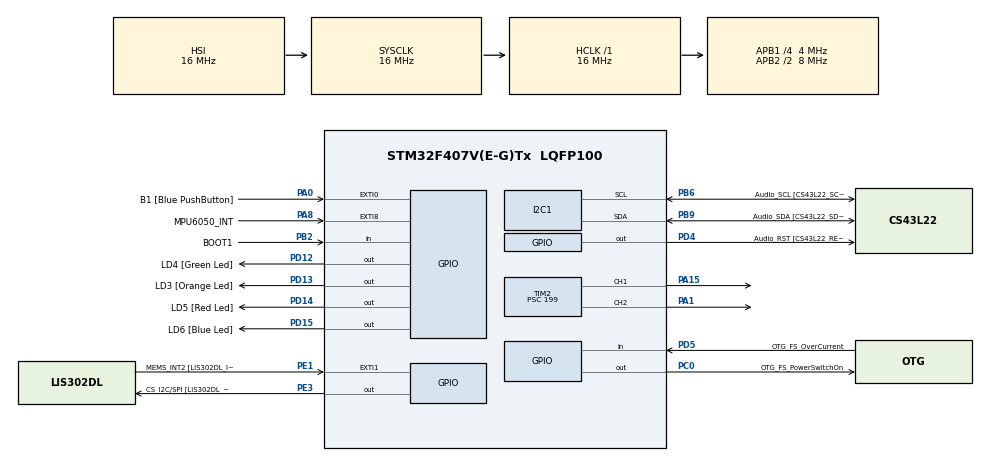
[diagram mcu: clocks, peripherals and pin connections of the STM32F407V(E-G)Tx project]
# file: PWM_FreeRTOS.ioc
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FREERTOS.Tasks01=defaultTask,24,128,StartDefaultTask,Default,NULL,Dynamic,NULL,NULL;SensorReadTask_,24,128,sensor_read_task,Default,NULL,Dynamic,NULL,NULL;PWMControlTask_,24,128,pwm_control_task,Default,NULL,Dynamic,NULL,NULL
FREERTOS.configUSE_NEWLIB_REENTRANT=1
Mcu.Family=STM32F4
Mcu.Name=STM32F407V(E-G)Tx
Mcu.Package=LQFP100
NVIC.EXTI9_5_IRQn=true\:0\:0\:false\:false\:true\:false\:true\:true\:true
NVIC.PriorityGroup=NVIC_PRIORITYGROUP_4
NVIC.TIM2_IRQn=true\:5\:0\:false\:false\:true\:true\:true\:true\:true
NVIC.TIM6_DAC_IRQn=true\:15\:0\:false\:false\:true\:false\:false\:true\:true
NVIC.TimeBase=TIM6_DAC_IRQn
NVIC.TimeBaseIP=TIM6
PA0-WKUP.GPIO_Label=B1 [Blue PushButton]
PA0-WKUP.Signal=GPXTI0
PA1.Signal=S_TIM2_CH2
PA10.GPIO_Label=OTG_FS_ID
PA10.GPIO_Mode=GPIO_MODE_AF_PP
PA10.GPIO_PuPd=GPIO_NOPULL
PA10.GPIO_Speed=GPIO_SPEED_FREQ_LOW
PA10.Signal=USB_OTG_FS_ID
PA11.GPIO_Label=OTG_FS_DM
PA11.GPIO_Mode=GPIO_MODE_AF_PP
PA11.GPIO_PuPd=GPIO_NOPULL
PA11.GPIO_Speed=GPIO_SPEED_FREQ_LOW
PA11.Signal=USB_OTG_FS_DM
PA12.GPIO_Label=OTG_FS_DP
PA12.GPIO_Mode=GPIO_MODE_AF_PP
PA12.GPIO_PuPd=GPIO_NOPULL
PA12.GPIO_Speed=GPIO_SPEED_FREQ_LOW
PA12.Signal=USB_OTG_FS_DP
PA13.GPIO_Label=SWDIO
PA13.Signal=SYS_JTMS-SWDIO
PA14.GPIO_Label=SWCLK
PA14.Signal=SYS_JTCK-SWCLK
PA15.Signal=S_TIM2_CH1_ETR
PA4.GPIO_Label=I2S3_WS [CS43L22_LRCK]
PA4.GPIO_Mode=GPIO_MODE_AF_PP
PA4.GPIO_PuPd=GPIO_NOPULL
PA4.GPIO_Speed=GPIO_SPEED_FREQ_LOW
PA4.Signal=I2S3_WS
PA5.GPIO_Label=SPI1_SCK [LIS302DL_SCL/SPC]
PA5.GPIO_Mode=GPIO_MODE_AF_PP
PA5.GPIO_PuPd=GPIO_NOPULL
PA5.GPIO_Speed=GPIO_SPEED_FREQ_LOW
PA5.Signal=SPI1_SCK
PA6.GPIO_Label=SPI1_MISO [LIS302DL_SDO]
PA6.GPIO_Mode=GPIO_MODE_AF_PP
PA6.GPIO_PuPd=GPIO_NOPULL
PA6.GPIO_Speed=GPIO_SPEED_FREQ_LOW
PA6.Signal=SPI1_MISO
PA7.GPIO_Label=SPI1_MOSI [LIS302DL_SDA/SDI/SDO]
PA7.GPIO_Mode=GPIO_MODE_AF_PP
PA7.GPIO_PuPd=GPIO_NOPULL
PA7.GPIO_Speed=GPIO_SPEED_FREQ_LOW
PA7.Signal=SPI1_MOSI
PA8.GPIO_Label=MPU6050_INT
PA8.Signal=GPXTI8
PA9.GPIO_Label=VBUS_FS
PA9.GPIO_Mode=GPIO_MODE_INPUT
PA9.GPIO_PuPd=GPIO_NOPULL
PA9.Signal=USB_OTG_FS_VBUS
PB10.GPIO_Label=CLK_IN [MP45DT02_CLK]
PB10.GPIO_Mode=GPIO_MODE_AF_PP
PB10.GPIO_PuPd=GPIO_NOPULL
PB10.GPIO_Speed=GPIO_SPEED_FREQ_LOW
PB10.Signal=I2S2_CK
PB2.GPIO_Label=BOOT1
PB2.GPIO_Mode=GPIO_MODE_INPUT
PB2.GPIO_PuPd=GPIO_NOPULL
PB2.Signal=GPIO_Input
PB3.GPIO_Label=SWO
PB3.Signal=SYS_JTDO-SWO
PB6.GPIO_Label=Audio_SCL [CS43L22_SCL]
PB6.GPIO_Mode=GPIO_MODE_AF_OD
PB6.GPIO_PuPd=GPIO_NOPULL
PB6.GPIO_Speed=GPIO_SPEED_FREQ_LOW
PB6.Mode=I2C
PB6.Signal=I2C1_SCL
PB9.GPIO_Label=Audio_SDA [CS43L22_SDA]
PB9.GPIO_Mode=GPIO_MODE_AF_OD
PB9.GPIO_PuPd=GPIO_NOPULL
PB9.GPIO_Speed=GPIO_SPEED_FREQ_LOW
PB9.Mode=I2C
PB9.Signal=I2C1_SDA
PC0.GPIO_Label=OTG_FS_PowerSwitchOn
PC0.GPIO_PuPd=GPIO_NOPULL
PC0.GPIO_Speed=GPIO_SPEED_FREQ_LOW
PC0.PinState=GPIO_PIN_SET
PC0.Signal=GPIO_Output
PC10.GPIO_Label=I2S3_SCK [CS43L22_SCLK]
PC10.GPIO_Mode=GPIO_MODE_AF_PP
PC10.GPIO_PuPd=GPIO_NOPULL
PC10.GPIO_Speed=GPIO_SPEED_FREQ_LOW
PC10.Signal=I2S3_CK
PC12.GPIO_Label=I2S3_SD [CS43L22_SDIN]
PC12.GPIO_Mode=GPIO_MODE_AF_PP
PC12.GPIO_PuPd=GPIO_NOPULL
PC12.GPIO_Speed=GPIO_SPEED_FREQ_LOW
PC12.Signal=I2S3_SD
PC14-OSC32_IN.GPIO_Label=PC14-OSC32_IN
PC14-OSC32_IN.Signal=RCC_OSC32_IN
PC15-OSC32_OUT.GPIO_Label=PC15-OSC32_OUT
PC15-OSC32_OUT.Signal=RCC_OSC32_OUT
PC3.GPIO_Label=PDM_OUT [MP45DT02_DOUT]
PC3.GPIO_Mode=GPIO_MODE_AF_PP
PC3.GPIO_PuPd=GPIO_NOPULL
PC3.GPIO_Speed=GPIO_SPEED_FREQ_LOW
PC3.Signal=I2S2_SD
PC7.GPIO_Label=I2S3_MCK [CS43L22_MCLK]
PC7.GPIO_Mode=GPIO_MODE_AF_PP
PC7.GPIO_PuPd=GPIO_NOPULL
PC7.GPIO_Speed=GPIO_SPEED_FREQ_LOW
PC7.Signal=I2S3_MCK
PD12.GPIO_Label=LD4 [Green Led]
PD12.GPIO_PuPd=GPIO_NOPULL
PD12.GPIO_Speed=GPIO_SPEED_FREQ_LOW
PD12.Signal=GPIO_Output
PD13.GPIO_Label=LD3 [Orange Led]
PD13.GPIO_PuPd=GPIO_NOPULL
PD13.GPIO_Speed=GPIO_SPEED_FREQ_LOW
PD13.Signal=GPIO_Output
PD14.GPIO_Label=LD5 [Red Led]
PD14.GPIO_PuPd=GPIO_NOPULL
PD14.GPIO_Speed=GPIO_SPEED_FREQ_LOW
PD14.Signal=GPIO_Output
PD15.GPIO_Label=LD6 [Blue Led]
PD15.GPIO_PuPd=GPIO_NOPULL
PD15.GPIO_Speed=GPIO_SPEED_FREQ_LOW
PD15.Signal=GPIO_Output
PD4.GPIO_Label=Audio_RST [CS43L22_RESET]
PD4.GPIO_PuPd=GPIO_NOPULL
PD4.GPIO_Speed=GPIO_SPEED_FREQ_LOW
PD4.Signal=GPIO_Output
PD5.GPIO_Label=OTG_FS_OverCurrent
PD5.GPIO_Mode=GPIO_MODE_INPUT
PD5.GPIO_PuPd=GPIO_NOPULL
PD5.Signal=GPIO_Input
PE1.GPIO_Label=MEMS_INT2 [LIS302DL_INT2]
PE1.GPIO_ModeDefaultEXTI=GPIO_MODE_EVT_RISING
PE1.GPIO_PuPd=GPIO_NOPULL
PE1.Signal=GPXTI1
PE3.GPIO_Label=CS_I2C/SPI [LIS302DL_CS_I2C/SPI]
PE3.GPIO_PuPd=GPIO_NOPULL
PE3.GPIO_Speed=GPIO_SPEED_FREQ_LOW
PE3.Signal=GPIO_Output
PH0-OSC_IN.GPIO_Label=PH0-OSC_IN
PH0-OSC_IN.Signal=RCC_OSC_IN
PH1-OSC_OUT.GPIO_Label=PH1-OSC_OUT
PH1-OSC_OUT.Signal=RCC_OSC_OUT
ProjectManager.HeapSize=0x200
ProjectManager.StackSize=0x400
ProjectManager.TargetToolchain=STM32CubeIDE
RCC.48MHZClocksFreq_Value=14285714.285714285
RCC.AHBFreq_Value=16000000
RCC.APB1CLKDivider=RCC_HCLK_DIV4
RCC.APB1Freq_Value=4000000
RCC.APB1TimFreq_Value=8000000
RCC.APB2CLKDivider=RCC_HCLK_DIV2
RCC.APB2Freq_Value=8000000
RCC.APB2TimFreq_Value=16000000
RCC.CortexFreq_Value=16000000
RCC.HCLKFreq_Value=16000000
RCC.HSE_VALUE=8000000
RCC.HSI_VALUE=16000000
RCC.LSE_VALUE=32768
RCC.PLLM=8
RCC.PLLN=50
RCC.PLLP=RCC_PLLP_DIV4
RCC.PLLQ=7
RCC.SYSCLKFreq_VALUE=16000000
RCC.VCOOutputFreq_Value=100000000
SH.S_TIM2_CH1_ETR.0=TIM2_CH1,PWM Generation1 CH1
SH.S_TIM2_CH2.0=TIM2_CH2,PWM Generation2 CH2
TIM2.AutoReloadPreload=TIM_AUTORELOAD_PRELOAD_DISABLE
TIM2.Channel-PWM\ Generation1\ CH1=TIM_CHANNEL_1
TIM2.Channel-PWM\ Generation2\ CH2=TIM_CHANNEL_2
TIM2.Period=19999
TIM2.Prescaler=199
TIM2.Pulse-PWM\ Generation1\ CH1=8000
TIM2.Pulse-PWM\ Generation2\ CH2=4000
TIM2.TIM_MasterOutputTrigger=TIM_TRGO_UPDATE
VP_FREERTOS_VS_CMSIS_V2.Mode=CMSIS_V2
VP_SYS_VS_tim6.Mode=TIM6
VP_TIM2_VS_ClockSourceINT.Mode=Internal
board=STM32F407G-DISC1

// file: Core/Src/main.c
/* USER CODE BEGIN Header */
/**
  ******************************************************************************
  * @file           : main.c
  * @brief          : Main program body
  ******************************************************************************
  * @attention
  *
  * Copyright (c) 2024 STMicroelectronics.
  * All rights reserved.
  *
  * This software is licensed under terms that can be found in the LICENSE file
  * in the root directory of this software component.
  * If no LICENSE file comes with this software, it is provided AS-IS.
  *
  ******************************************************************************
  */
/* USER CODE END Header */
#include "main.h"
#include "cmsis_os.h"

/* USER CODE BEGIN Includes */
#include "mpu6050.h"
#include "kalman_filter.h"
#include "math.h"
#include <limits.h>
/* USER CODE END Includes */

I2C_HandleTypeDef hi2c1;

TIM_HandleTypeDef htim2;

/* Definitions for defaultTask */
osThreadId_t defaultTaskHandle;
const osThreadAttr_t defaultTask_attributes = {
  .name = "defaultTask",
  .stack_size = 128 * 4,
  .priority = (osPriority_t) osPriorityNormal,
};
/* Definitions for SensorReadTask_ */
osThreadId_t SensorReadTask_Handle;
const osThreadAttr_t SensorReadTask__attributes = {
  .name = "SensorReadTask_",
  .stack_size = 128 * 4,
  .priority = (osPriority_t) osPriorityNormal,
};
/* Definitions for PWMControlTask_ */
osThreadId_t PWMControlTask_Handle;
const osThreadAttr_t PWMControlTask__attributes = {
  .name = "PWMControlTask_",
  .stack_size = 128 * 4,
  .priority = (osPriority_t) osPriorityNormal,
};
/* USER CODE BEGIN PV */
 uint32_t g_counter = 0;
volatile uint32_t g_ch2_state = 4000; //red
volatile uint32_t g_ch1_state = 8000; //green

const mpu6050_accel_data offset = {
		.x = 250,
		.y = -200,
		.z = 156
};

/* USER CODE END PV */

void SystemClock_Config(void);
static void MX_GPIO_Init(void);
static void MX_I2C1_Init(void);
static void MX_TIM2_Init(void);
void StartDefaultTask(void *argument);
void sensor_read_task(void *argument);
void pwm_control_task(void *argument);

/* USER CODE BEGIN 0 */
long map(long x, long in_min, long in_max, long out_min, long out_max) {
    // Perform  mapping
    long result = (x - in_min) * (out_max - out_min) / (in_max - in_min) + out_min;

    // Clamp the result to the output range
    if (result > out_max) {
        result = out_max;
    } else if (result < out_min) {
        result = out_min;
    }

    return result;
}

void change_pwm_duty_cycle(uint32_t pwm_pulse, uint8_t timer_channel)
{
	__HAL_TIM_SET_COMPARE(&htim2, timer_channel, pwm_pulse);
}

void HAL_GPIO_EXTI_Callback(uint16_t GPIO_Pin)
{
  /* Prevent unused argument(s) compilation warning */
	if(GPIO_Pin == MPU6050_INT_Pin)
	{
		 // mpu6050_interrupy_handle();

	}
  /* NOTE: This function Should not be modified, when the callback is needed,
           the HAL_GPIO_EXTI_Callback could be implemented in the user file
   */
}
/* USER CODE END 0 */

int main(void)
{

  /* MCU Configuration--------------------------------------------------------*/

  /* Reset of all peripherals, Initializes the Flash interface and the Systick. */
  HAL_Init();

  /* Configure the system clock */
  SystemClock_Config();

  /* Initialize all configured peripherals */
  MX_GPIO_Init();
  MX_I2C1_Init();
  MX_TIM2_Init();
  /* USER CODE BEGIN 2 */
  if(mpu6050_init(&hi2c1, MPU6050_I2C_DEV_ADDR) != MPU6050_OK)
  {
  	  Error_Handler();
  }

  mpu6050_disable_interrupt(&hi2c1, ALL_INT);  //disable all interrupts
  mpu6050_interrupt_config(&hi2c1, INT_LEVEL_ACTIVE_HIGH);  //configure rising edge int triggering
  mpu6050_enable_interrupt(&hi2c1, RAW_RDY_INT);  //enable int issuing when new raw data ready in regs

  if (mpu6050_configure_low_pass_filter(&hi2c1,DLPF_CFG_21HZ) != MPU6050_OK) {
  	  Error_Handler();
    }

  __HAL_TIM_ENABLE_IT(&htim2,TIM_IT_UPDATE);
  if(HAL_TIM_PWM_Start_IT(&htim2, TIM_CHANNEL_1)!= HAL_OK)  	//PA15
  	{
  		Error_Handler();
  	}

  	if(HAL_TIM_PWM_Start_IT(&htim2, TIM_CHANNEL_2)!= HAL_OK)	//PA1
  	{
  		Error_Handler();
  	}

  /* USER CODE END 2 */

  /* Init scheduler */
  osKernelInitialize();

  /* Create the thread(s) */
  /* creation of defaultTask */
  defaultTaskHandle = osThreadNew(StartDefaultTask, NULL, &defaultTask_attributes);

  /* creation of SensorReadTask_ */
  SensorReadTask_Handle = osThreadNew(sensor_read_task, NULL, &SensorReadTask__attributes);

  /* creation of PWMControlTask_ */
  PWMControlTask_Handle = osThreadNew(pwm_control_task, NULL, &PWMControlTask__attributes);

  /* Start scheduler */
  osKernelStart();

  /* We should never get here as control is now taken by the scheduler */

  /* Infinite loop */
  while (1)
  {

    /* USER CODE BEGIN 3 */
#ifdef PWM
	  g_counter = __HAL_TIM_GET_COUNTER(&htim2);
#endif

	  //HAL_Delay(500);
  }
  /* USER CODE END 3 */
}

void SystemClock_Config(void)
{
  RCC_OscInitTypeDef RCC_OscInitStruct = {0};
  RCC_ClkInitTypeDef RCC_ClkInitStruct = {0};

  /** Configure the main internal regulator output voltage
  */
  __HAL_RCC_PWR_CLK_ENABLE();
  __HAL_PWR_VOLTAGESCALING_CONFIG(PWR_REGULATOR_VOLTAGE_SCALE1);

  /** Initializes the RCC Oscillators according to the specified parameters
  * in the RCC_OscInitTypeDef structure.
  */
  RCC_OscInitStruct.OscillatorType = RCC_OSCILLATORTYPE_HSI;
  RCC_OscInitStruct.HSIState = RCC_HSI_ON;
  RCC_OscInitStruct.HSICalibrationValue = RCC_HSICALIBRATION_DEFAULT;
  RCC_OscInitStruct.PLL.PLLState = RCC_PLL_NONE;
  if (HAL_RCC_OscConfig(&RCC_OscInitStruct) != HAL_OK)
  {
    Error_Handler();
  }

  /** Initializes the CPU, AHB and APB buses clocks
  */
  RCC_ClkInitStruct.ClockType = RCC_CLOCKTYPE_HCLK|RCC_CLOCKTYPE_SYSCLK
                              |RCC_CLOCKTYPE_PCLK1|RCC_CLOCKTYPE_PCLK2;
  RCC_ClkInitStruct.SYSCLKSource = RCC_SYSCLKSOURCE_HSI;
  RCC_ClkInitStruct.AHBCLKDivider = RCC_SYSCLK_DIV1;
  RCC_ClkInitStruct.APB1CLKDivider = RCC_HCLK_DIV4;
  RCC_ClkInitStruct.APB2CLKDivider = RCC_HCLK_DIV2;

  if (HAL_RCC_ClockConfig(&RCC_ClkInitStruct, FLASH_LATENCY_0) != HAL_OK)
  {
    Error_Handler();
  }
}

static void MX_I2C1_Init(void)
{

  hi2c1.Instance = I2C1;
  hi2c1.Init.ClockSpeed = 100000;
  hi2c1.Init.DutyCycle = I2C_DUTYCYCLE_2;
  hi2c1.Init.OwnAddress1 = 0;
  hi2c1.Init.AddressingMode = I2C_ADDRESSINGMODE_7BIT;
  hi2c1.Init.DualAddressMode = I2C_DUALADDRESS_DISABLE;
  hi2c1.Init.OwnAddress2 = 0;
  hi2c1.Init.GeneralCallMode = I2C_GENERALCALL_DISABLE;
  hi2c1.Init.NoStretchMode = I2C_NOSTRETCH_DISABLE;
  if (HAL_I2C_Init(&hi2c1) != HAL_OK)
  {
    Error_Handler();
  }

}

static void MX_TIM2_Init(void)
{

  TIM_ClockConfigTypeDef sClockSourceConfig = {0};
  TIM_MasterConfigTypeDef sMasterConfig = {0};
  TIM_OC_InitTypeDef sConfigOC = {0};

  htim2.Instance = TIM2;
  htim2.Init.Prescaler = 199;
  htim2.Init.CounterMode = TIM_COUNTERMODE_UP;
  htim2.Init.Period = 19999;
  htim2.Init.ClockDivision = TIM_CLOCKDIVISION_DIV1;
  htim2.Init.AutoReloadPreload = TIM_AUTORELOAD_PRELOAD_DISABLE;
  if (HAL_TIM_Base_Init(&htim2) != HAL_OK)
  {
    Error_Handler();
  }
  sClockSourceConfig.ClockSource = TIM_CLOCKSOURCE_INTERNAL;
  if (HAL_TIM_ConfigClockSource(&htim2, &sClockSourceConfig) != HAL_OK)
  {
    Error_Handler();
  }
  if (HAL_TIM_PWM_Init(&htim2) != HAL_OK)
  {
    Error_Handler();
  }
  sMasterConfig.MasterOutputTrigger = TIM_TRGO_UPDATE;
  sMasterConfig.MasterSlaveMode = TIM_MASTERSLAVEMODE_DISABLE;
  if (HAL_TIMEx_MasterConfigSynchronization(&htim2, &sMasterConfig) != HAL_OK)
  {
    Error_Handler();
  }
  sConfigOC.OCMode = TIM_OCMODE_PWM1;
  sConfigOC.Pulse = 8000;
  sConfigOC.OCPolarity = TIM_OCPOLARITY_HIGH;
  sConfigOC.OCFastMode = TIM_OCFAST_DISABLE;
  if (HAL_TIM_PWM_ConfigChannel(&htim2, &sConfigOC, TIM_CHANNEL_1) != HAL_OK)
  {
    Error_Handler();
  }
  sConfigOC.Pulse = 4000;
  if (HAL_TIM_PWM_ConfigChannel(&htim2, &sConfigOC, TIM_CHANNEL_2) != HAL_OK)
  {
    Error_Handler();
  }
  HAL_TIM_MspPostInit(&htim2);

}

static void MX_GPIO_Init(void)
{
  GPIO_InitTypeDef GPIO_InitStruct = {0};

  /* GPIO Ports Clock Enable */
  __HAL_RCC_GPIOE_CLK_ENABLE();
  __HAL_RCC_GPIOC_CLK_ENABLE();
  __HAL_RCC_GPIOH_CLK_ENABLE();
  __HAL_RCC_GPIOA_CLK_ENABLE();
  __HAL_RCC_GPIOB_CLK_ENABLE();
  __HAL_RCC_GPIOD_CLK_ENABLE();

  /*Configure GPIO pin Output Level */
  HAL_GPIO_WritePin(CS_I2C_SPI_GPIO_Port, CS_I2C_SPI_Pin, GPIO_PIN_RESET);

  /*Configure GPIO pin Output Level */
  HAL_GPIO_WritePin(OTG_FS_PowerSwitchOn_GPIO_Port, OTG_FS_PowerSwitchOn_Pin, GPIO_PIN_SET);

  /*Configure GPIO pin Output Level */
  HAL_GPIO_WritePin(GPIOD, LD4_Pin|LD3_Pin|LD5_Pin|LD6_Pin
                          |Audio_RST_Pin, GPIO_PIN_RESET);

  /*Configure GPIO pin : CS_I2C_SPI_Pin */
  GPIO_InitStruct.Pin = CS_I2C_SPI_Pin;
  GPIO_InitStruct.Mode = GPIO_MODE_OUTPUT_PP;
  GPIO_InitStruct.Pull = GPIO_NOPULL;
  GPIO_InitStruct.Speed = GPIO_SPEED_FREQ_LOW;
  HAL_GPIO_Init(CS_I2C_SPI_GPIO_Port, &GPIO_InitStruct);

  /*Configure GPIO pin : OTG_FS_PowerSwitchOn_Pin */
  GPIO_InitStruct.Pin = OTG_FS_PowerSwitchOn_Pin;
  GPIO_InitStruct.Mode = GPIO_MODE_OUTPUT_PP;
  GPIO_InitStruct.Pull = GPIO_NOPULL;
  GPIO_InitStruct.Speed = GPIO_SPEED_FREQ_LOW;
  HAL_GPIO_Init(OTG_FS_PowerSwitchOn_GPIO_Port, &GPIO_InitStruct);

  /*Configure GPIO pin : PDM_OUT_Pin */
  GPIO_InitStruct.Pin = PDM_OUT_Pin;
  GPIO_InitStruct.Mode = GPIO_MODE_AF_PP;
  GPIO_InitStruct.Pull = GPIO_NOPULL;
  GPIO_InitStruct.Speed = GPIO_SPEED_FREQ_LOW;
  GPIO_InitStruct.Alternate = GPIO_AF5_SPI2;
  HAL_GPIO_Init(PDM_OUT_GPIO_Port, &GPIO_InitStruct);

  /*Configure GPIO pins : B1_Pin MPU6050_INT_Pin */
  GPIO_InitStruct.Pin = B1_Pin|MPU6050_INT_Pin;
  GPIO_InitStruct.Mode = GPIO_MODE_IT_RISING;
  GPIO_InitStruct.Pull = GPIO_NOPULL;
  HAL_GPIO_Init(GPIOA, &GPIO_InitStruct);

  /*Configure GPIO pin : I2S3_WS_Pin */
  GPIO_InitStruct.Pin = I2S3_WS_Pin;
  GPIO_InitStruct.Mode = GPIO_MODE_AF_PP;
  GPIO_InitStruct.Pull = GPIO_NOPULL;
  GPIO_InitStruct.Speed = GPIO_SPEED_FREQ_LOW;
  GPIO_InitStruct.Alternate = GPIO_AF6_SPI3;
  HAL_GPIO_Init(I2S3_WS_GPIO_Port, &GPIO_InitStruct);

  /*Configure GPIO pins : SPI1_SCK_Pin SPI1_MISO_Pin SPI1_MOSI_Pin */
  GPIO_InitStruct.Pin = SPI1_SCK_Pin|SPI1_MISO_Pin|SPI1_MOSI_Pin;
  GPIO_InitStruct.Mode = GPIO_MODE_AF_PP;
  GPIO_InitStruct.Pull = GPIO_NOPULL;
  GPIO_InitStruct.Speed = GPIO_SPEED_FREQ_LOW;
  GPIO_InitStruct.Alternate = GPIO_AF5_SPI1;
  HAL_GPIO_Init(GPIOA, &GPIO_InitStruct);

  /*Configure GPIO pin : BOOT1_Pin */
  GPIO_InitStruct.Pin = BOOT1_Pin;
  GPIO_InitStruct.Mode = GPIO_MODE_INPUT;
  GPIO_InitStruct.Pull = GPIO_NOPULL;
  HAL_GPIO_Init(BOOT1_GPIO_Port, &GPIO_InitStruct);

  /*Configure GPIO pin : CLK_IN_Pin */
  GPIO_InitStruct.Pin = CLK_IN_Pin;
  GPIO_InitStruct.Mode = GPIO_MODE_AF_PP;
  GPIO_InitStruct.Pull = GPIO_NOPULL;
  GPIO_InitStruct.Speed = GPIO_SPEED_FREQ_LOW;
  GPIO_InitStruct.Alternate = GPIO_AF5_SPI2;
  HAL_GPIO_Init(CLK_IN_GPIO_Port, &GPIO_InitStruct);

  /*Configure GPIO pins : LD4_Pin LD3_Pin LD5_Pin LD6_Pin
                           Audio_RST_Pin */
  GPIO_InitStruct.Pin = LD4_Pin|LD3_Pin|LD5_Pin|LD6_Pin
                          |Audio_RST_Pin;
  GPIO_InitStruct.Mode = GPIO_MODE_OUTPUT_PP;
  GPIO_InitStruct.Pull = GPIO_NOPULL;
  GPIO_InitStruct.Speed = GPIO_SPEED_FREQ_LOW;
  HAL_GPIO_Init(GPIOD, &GPIO_InitStruct);

  /*Configure GPIO pins : I2S3_MCK_Pin I2S3_SCK_Pin I2S3_SD_Pin */
  GPIO_InitStruct.Pin = I2S3_MCK_Pin|I2S3_SCK_Pin|I2S3_SD_Pin;
  GPIO_InitStruct.Mode = GPIO_MODE_AF_PP;
  GPIO_InitStruct.Pull = GPIO_NOPULL;
  GPIO_InitStruct.Speed = GPIO_SPEED_FREQ_LOW;
  GPIO_InitStruct.Alternate = GPIO_AF6_SPI3;
  HAL_GPIO_Init(GPIOC, &GPIO_InitStruct);

  /*Configure GPIO pin : VBUS_FS_Pin */
  GPIO_InitStruct.Pin = VBUS_FS_Pin;
  GPIO_InitStruct.Mode = GPIO_MODE_INPUT;
  GPIO_InitStruct.Pull = GPIO_NOPULL;
  HAL_GPIO_Init(VBUS_FS_GPIO_Port, &GPIO_InitStruct);

  /*Configure GPIO pins : OTG_FS_ID_Pin OTG_FS_DM_Pin OTG_FS_DP_Pin */
  GPIO_InitStruct.Pin = OTG_FS_ID_Pin|OTG_FS_DM_Pin|OTG_FS_DP_Pin;
  GPIO_InitStruct.Mode = GPIO_MODE_AF_PP;
  GPIO_InitStruct.Pull = GPIO_NOPULL;
  GPIO_InitStruct.Speed = GPIO_SPEED_FREQ_LOW;
  GPIO_InitStruct.Alternate = GPIO_AF10_OTG_FS;
  HAL_GPIO_Init(GPIOA, &GPIO_InitStruct);

  /*Configure GPIO pin : OTG_FS_OverCurrent_Pin */
  GPIO_InitStruct.Pin = OTG_FS_OverCurrent_Pin;
  GPIO_InitStruct.Mode = GPIO_MODE_INPUT;
  GPIO_InitStruct.Pull = GPIO_NOPULL;
  HAL_GPIO_Init(OTG_FS_OverCurrent_GPIO_Port, &GPIO_InitStruct);

  /*Configure GPIO pin : MEMS_INT2_Pin */
  GPIO_InitStruct.Pin = MEMS_INT2_Pin;
  GPIO_InitStruct.Mode = GPIO_MODE_EVT_RISING;
  GPIO_InitStruct.Pull = GPIO_NOPULL;
  HAL_GPIO_Init(MEMS_INT2_GPIO_Port, &GPIO_InitStruct);

  /* EXTI interrupt init*/
  HAL_NVIC_SetPriority(EXTI9_5_IRQn, 0, 0);
  HAL_NVIC_EnableIRQ(EXTI9_5_IRQn);

}

void StartDefaultTask(void *argument)
{
  for(;;)
  {
    osDelay(1);
  }
}

void sensor_read_task(void *argument)
{
  /* USER CODE BEGIN sensor_read_task */
	mpu6050_accel_data accel_data;

	uint32_t accel_data_y_z = 0;

  /* Infinite loop */

  for(;;)
  {
	  //Sensor Read
	  if(mpu6050_read_accelerometer_data(&hi2c1, MPU6050_I2C_DEV_ADDR, &accel_data)!= MPU6050_OK)
	  {
		  Error_Handler();
	  }

	  accel_data =  mpu6050_accel_calib(&accel_data, &offset);

	  accel_data_y_z = accel_data.x;
	  accel_data_y_z = (accel_data_y_z << 16) | accel_data.x;

	  //Notify the pwm update task
	 xTaskNotify((TaskHandle_t)PWMControlTask_Handle, accel_data_y_z,eSetValueWithOverwrite);
	  {
		  Error_Handler();
	  }

	  //Enter blocked state
	  xTaskNotifyWait(0, 0, NULL, portMAX_DELAY);
  }
  /* USER CODE END sensor_read_task */
}

void pwm_control_task(void *argument)
{
  /* USER CODE BEGIN pwm_control_task */
	 uint32_t previous_tick = osKernelGetTickCount();

	 float dt = 0;
	 uint16_t roll_angle;
	 int16_t kalman_roll_angle;

	 mpu6050_accel_data accel_data;
	 uint32_t accel_data_y_z_rcvd;

	 KalmanFilter kf;
	 kalman_filter_init(&kf);

  /* Infinite loop */
  for(;;)
  {

	  //Wakes up on notification
	  xTaskNotifyWait(0, ULONG_MAX, &accel_data_y_z_rcvd, portMAX_DELAY);
	  accel_data.y = accel_data_y_z_rcvd & 0xFF;
	  accel_data.z = accel_data_y_z_rcvd &(0xFF << 16);

	  uint32_t current_tick = osKernelGetTickCount();
	  dt = (current_tick - previous_tick) / 1000.0f;
	  previous_tick = current_tick;

	  roll_angle = atan2(accel_data.y, accel_data.z) * (180.0/M_PI);

	  kalman_roll_angle = (int16_t) kalman_filter_get_angle(&kf, roll_angle, dt);

	  uint8_t channel = (kalman_roll_angle < 0) ? TIM_CHANNEL_1 : TIM_CHANNEL_2;

	  kalman_roll_angle = (kalman_roll_angle < 0) ? -kalman_roll_angle : kalman_roll_angle;

	  uint32_t pwm_pulse = map(kalman_roll_angle, ANGLE_POS_MIN, ANGLE_POS_MAX,PWM_PULSE_MIN, PWM_PULSE_MAX);

	  change_pwm_duty_cycle(pwm_pulse, channel);

  }
  /* USER CODE END pwm_control_task */
}

void HAL_TIM_PeriodElapsedCallback(TIM_HandleTypeDef *htim)
{
  /* USER CODE BEGIN Callback 0 */
	g_counter = 0;
	g_ch1_state = 8000;
	g_ch2_state = 4000;
  /* USER CODE END Callback 0 */
  if (htim->Instance == TIM6) {
    HAL_IncTick();
  }
}

void Error_Handler(void)
{
  __disable_irq();
  while (1)
  {
  }
}
